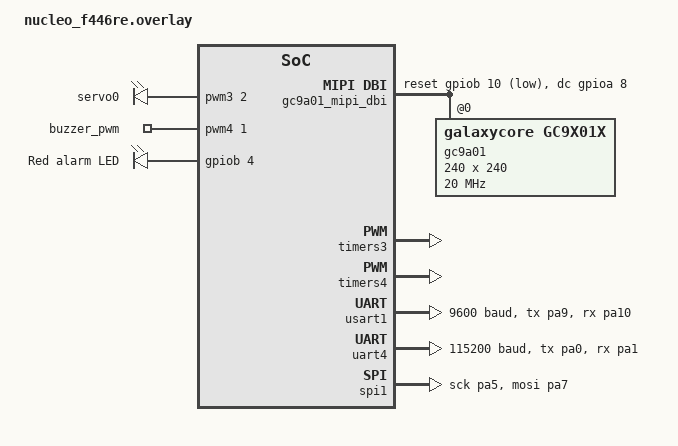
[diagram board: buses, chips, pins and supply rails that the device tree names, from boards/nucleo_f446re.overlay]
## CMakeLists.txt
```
# == DO NOT EDIT THE FOLLOWING LINES for the Raspberry Pi Pico VS Code Extension to work ==
if(WIN32)
    set(USERHOME $ENV{USERPROFILE})
else()
    set(USERHOME $ENV{HOME})
endif()
set(sdkVersion 2.3.1)
set(toolchainVersion 15_2_Rel1)
set(picotoolVersion 2.3.1)
set(picoVscode ${USERHOME}/.pico-sdk/cmake/pico-vscode.cmake)
if (EXISTS ${picoVscode})
    include(${picoVscode})
endif()
# ====================================================================================
cmake_minimum_required(VERSION 3.13)

# Must be set before the SDK is imported
set(PICO_BOARD pico2_w CACHE STRING "Board type")

# Copy this file from $PICO_SDK_PATH/external/pico_sdk_import.cmake
include(pico_sdk_import.cmake)

project(radar_ble_bridge C CXX ASM)

set(CMAKE_C_STANDARD 11)
set(CMAKE_CXX_STANDARD 20)
set(CMAKE_CXX_STANDARD_REQUIRED ON)

pico_sdk_init()

add_executable(radar_ble_bridge
    src/main.cpp
    src/radar_protocol.cpp
    src/radar_service.cpp
    src/uart_link.cpp
)

# btstack_config.h and the generated GATT header are looked up here
target_include_directories(radar_ble_bridge PRIVATE
    ${CMAKE_CURRENT_LIST_DIR}/src
)

target_link_libraries(radar_ble_bridge PRIVATE
    pico_stdlib
    hardware_uart
    pico_btstack_ble
    pico_btstack_cyw43
    pico_cyw43_arch_none
)

# Compiles src/radar_gatt.gatt into radar_gatt.h (ATT database + handle macros)
pico_btstack_make_gatt_header(radar_ble_bridge PRIVATE
    "${CMAKE_CURRENT_LIST_DIR}/src/radar_gatt.gatt"
)

# Logs go to the USB serial port; UART1 is reserved for the radar link
pico_enable_stdio_usb(radar_ble_bridge 1)
pico_enable_stdio_uart(radar_ble_bridge 0)

# Wait up to 3 s for a terminal to open the USB serial port at boot,
# so the startup log lines (BTstack up, advertising) are not lost.
# Boot continues after the timeout even with no terminal attached.
target_compile_definitions(radar_ble_bridge PRIVATE
    PICO_STDIO_USB_CONNECT_WAIT_TIMEOUT_MS=3000
)

pico_add_extra_outputs(radar_ble_bridge)
```

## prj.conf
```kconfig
CONFIG_GPIO=y
CONFIG_PWM=y
CONFIG_SERIAL=y
# US-100 replies are received in the UART interrupt
CONFIG_UART_INTERRUPT_DRIVEN=y
CONFIG_SPI=y
CONFIG_MIPI_DBI=y
CONFIG_DISPLAY=y

CONFIG_PRINTK=y
CONFIG_CONSOLE=y
CONFIG_UART_CONSOLE=y

# cosf/sinf in the UI run on the hardware FPU
CONFIG_FPU=y

# LVGL renders from main, which needs more stack than before
CONFIG_MAIN_STACK_SIZE=6144
# Lower priority than the radar thread (5), so rendering never holds up the servo
CONFIG_MAIN_THREAD_PRIORITY=7

# LVGL: partial draw buffer of 10% of the screen (~11.5 KB),
# small object pool because the radar is drawn by one callback
CONFIG_LVGL=y
CONFIG_LV_Z_MEM_POOL_SIZE=32768
CONFIG_LV_Z_VDB_SIZE=10
CONFIG_LV_Z_BITS_PER_PIXEL=16
CONFIG_LV_COLOR_DEPTH_16=y
CONFIG_LV_USE_LABEL=y
CONFIG_LV_FONT_MONTSERRAT_14=y
CONFIG_LV_FONT_MONTSERRAT_20=y
CONFIG_LV_FONT_MONTSERRAT_32=y

# Debugging: print driver/LVGL init errors and catch failed asserts
CONFIG_LOG=y
CONFIG_ASSERT=y
```

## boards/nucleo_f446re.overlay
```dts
#include <zephyr/dt-bindings/display/panel.h>

/*
 * MG90S servo:
 *   Signal -> D9 = PC7 = TIM3_CH2, 50 Hz PWM (20 ms period)
 *   Power  -> 5 V (preferably an external supply), GND shared with the board
 *
 * US-100 (Y401) ultrasonic module in UART mode (jumper fitted on the back):
 *   Trig/TX -> D8 = PA9  (USART1 TX)
 *   Echo/RX -> D2 = PA10 (USART1 RX)
 *   VCC     -> 3.3 V, GND -> GND
 *   9600 baud, 8N1
 *
 * GC9A01 1.28" round IPS, 240x240, 8-pin SPI module:
 *   SCL -> D13 = PA5 (SPI1 SCK)  - also drives the on-board LD2 LED,
 *                                  so LD2 flickers during screen updates
 *   SDA -> D11 = PA7 (SPI1 MOSI)
 *   CS  -> D4  = PB5
 *   DC  -> D7  = PA8
 *   RES -> D6  = PB10
 *   BLK -> 3.3 V (backlight always on)
 *   VCC -> 3.3 V, GND -> GND
 *
 * Alarm outputs:
 *   Passive buzzer module I/O -> D10 = PB6 = TIM4_CH1, 3 kHz PWM
 *     (VCC -> 3.3 V, GND -> GND). D10 is the usual Arduino SPI
 *     chip-select pin, which is why the display CS is moved to D4.
 *   Red LED -> D5 = PB4, through a 220-330 ohm series resistor,
 *     cathode to GND, active-high
 *
 * PC link (CH340 USB-to-TTL adapter, set to 3.3 V logic, VCC not connected):
 *   CH340 TXD -> A1 = PA1 (UART4 RX)
 *   CH340 RXD -> A0 = PA0 (UART4 TX)
 *   CH340 GND -> GND
 *   Radar data only; printk/logs stay on the ST-LINK virtual COM port.
 *
 * NOTE: pinctrl labels follow Zephyr's usual naming pattern. If
 * `west build` reports one as undeclared, look up the exact name in
 * your workspace's STM32F4 pinctrl files and update it here.
 */
/ {
	aliases {
		servo = &servo0;
		us100-uart = &usart1;
		radar-link = &uart4;
		buzzer-pwm = &buzzer_pwm;
		led-alarm = &alarm_led;
	};

	chosen {
		zephyr,display = &gc9a01;
	};

	servos {
		/* Reusing the generic "PWM output" binding for the servo,
		 * same idea as the buzzer in the traffic light project.
		 */
		compatible = "pwm-leds";

		servo0: servo_0 {
			pwms = <&pwm3 2 PWM_MSEC(20) PWM_POLARITY_NORMAL>;
		};
	};

	pwmleds {
		/* Not an LED - generic PWM output for the passive buzzer,
		 * same node as in the traffic light project so buzzer.c
		 * can be reused unchanged.
		 */
		compatible = "pwm-leds";

		buzzer_pwm: buzzer_pwm {
			pwms = <&pwm4 1 PWM_HZ(3000) PWM_POLARITY_NORMAL>;
		};
	};

	leds {
		compatible = "gpio-leds";

		alarm_led: led_alarm {
			gpios = <&gpiob 4 GPIO_ACTIVE_HIGH>;
			label = "Red alarm LED";
		};
	};

	gc9a01_mipi_dbi {
		compatible = "zephyr,mipi-dbi-spi";
		spi-dev = <&spi1>;
		dc-gpios = <&gpioa 8 GPIO_ACTIVE_HIGH>;
		reset-gpios = <&gpiob 10 GPIO_ACTIVE_LOW>;
		write-only; /* no MISO wire on this module */
		#address-cells = <1>;
		#size-cells = <0>;

		gc9a01: gc9a01@0 {
			compatible = "galaxycore,gc9x01x";
			reg = <0>; /* first entry of spi1 cs-gpios */
			mipi-mode = "MIPI_DBI_MODE_SPI_4WIRE";
			/* Conservative for dupont wires; try raising once it works */
			mipi-max-frequency = <DT_FREQ_M(20)>;
			pixel-format = <PANEL_PIXEL_FORMAT_RGB_565>;
			width = <240>;
			height = <240>;
			/* IPS panels usually need this, otherwise colours come out inverted */
			display-inversion;
			/* Rotated in the panel controller itself, so it costs no CPU time */
			orientation = "180";
		};
	};
};

/*
 * TIM3 is a 16-bit timer. Without a prescaler, a 20 ms period at the
 * timer clock needs far more than 65535 counts, so divide the clock
 * down to roughly 1 MHz (1 count ~ 1 us).
 */
&timers3 {
	status = "okay";
	st,prescaler = <83>;

	pwm3: pwm {
		status = "okay";
		pinctrl-0 = <&tim3_ch2_pc7>;
		pinctrl-names = "default";
	};
};

/*
 * TIM4 for the buzzer. At 3 kHz the period fits in 16 bits without a
 * prescaler. Kept separate from TIM3 (servo, 50 Hz): channels on the
 * same timer share one frequency.
 */
&timers4 {
	status = "okay";
	st,prescaler = <0>;

	pwm4: pwm {
		status = "okay";
		pinctrl-0 = <&tim4_ch1_pb6>;
		pinctrl-names = "default";
	};
};

&usart1 {
	pinctrl-0 = <&usart1_tx_pa9 &usart1_rx_pa10>;
	pinctrl-names = "default";
	current-speed = <9600>;
	status = "okay";
};

&uart4 {
	pinctrl-0 = <&uart4_tx_pa0 &uart4_rx_pa1>;
	pinctrl-names = "default";
	current-speed = <115200>;
	status = "okay";
};

/* Override the board default so CS is PB5, not PB6 (D10) */
&spi1 {
	pinctrl-0 = <&spi1_sck_pa5 &spi1_mosi_pa7>;
	pinctrl-names = "default";
	cs-gpios = <&gpiob 5 GPIO_ACTIVE_LOW>;
	status = "okay";
};

/*
 * The Nucleo-F446RE board file routes PA5 (the LD2 LED) to TIM2_CH1 as
 * a PWM LED (node pwm2). PA5 is SPI1 SCK here. With CONFIG_PWM=y that
 * PWM driver would take PA5 over at boot and the display would never
 * receive a clock. Disabling only the parent timers2 is not enough -
 * the pwm2 child node must be disabled itself.
 */
&timers2 {
	status = "disabled";
};

&pwm2 {
	status = "disabled";
};
```

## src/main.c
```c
#include <zephyr/kernel.h>
#include <zephyr/sys/printk.h>

#include "servo.h"
#include "us100.h"
#include "radar.h"
#include "protocol.h"
#include "alarm.h"
#include "radar_ui.h"

static void handle_sample(const struct radar_sample *sample)
{
	protocol_send_sample(sample);
	alarm_update(sample);
	/* Only records the sample and marks the area dirty; no drawing here */
	radar_ui_update(sample, alarm_get_level());
}

static void report_drops(void)
{
	static uint32_t last_dropped;
	uint32_t dropped = radar_dropped_count();

	if (dropped != last_dropped) {
		printk("Warning: %u radar samples dropped (queue full)\n",
		       dropped - last_dropped);
		last_dropped = dropped;
	}
}

int main(void)
{
	if (radar_ui_init() != 0) {
		return 0;
	}

	if (servo_init() != 0) {
		return 0;
	}

	if (us100_init() != 0) {
		return 0;
	}

	if (alarm_init() != 0) {
		return 0;
	}

	if (protocol_init() != 0) {
		printk("Error: protocol UART not ready\n");
		return 0;
	}

	printk("Radar started\n");
	radar_start();

	/*
	 * main is the single consumer of the radar queue and also the only
	 * thread that touches LVGL.
	 *
	 * Rendering a frame can take longer than the gap between samples.
	 * So after waking up, drain every sample that is waiting (each one
	 * is cheap to handle), then render once. The screen then always
	 * shows the latest state instead of falling further and further
	 * behind the servo.
	 */
	struct radar_sample sample;
	uint32_t wait_ms = radar_ui_process();

	while (1) {
		if (radar_get_sample(&sample, K_MSEC(wait_ms)) == 0) {
			do {
				handle_sample(&sample);
			} while (radar_get_sample(&sample, K_NO_WAIT) == 0);
		}

		report_drops();
		wait_ms = radar_ui_process();
	}

	return 0;
}
```

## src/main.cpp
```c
/*
 * Radar BLE bridge - Raspberry Pi Pico 2 W (CYW43439, BTstack)
 *
 * Receives radar frames from the Nucleo over UART1, validates them and
 * forwards them to a phone through the Radar Bridge GATT service.
 *
 * Threading: pico_cyw43_arch_none runs BTstack in the background
 * (async context driven by interrupts). The GATT service, its timer and
 * the UART line handler all run in that one context, so no locking is
 * needed. The UART interrupt only fills a ring buffer and wakes the
 * BTstack context. main() initialises everything and then idles.
 */

#include <cstdio>

#include "btstack.h"
#include "pico/cyw43_arch.h"
#include "pico/stdlib.h"

#include "radar_service.h"
#include "uart_link.h"

int main()
{
    stdio_init_all();

    if (cyw43_arch_init() != 0) {
        printf("cyw43_arch_init failed\n");
        return -1;
    }

    l2cap_init();
    sm_init();

    radar_service::init();
    uart_link::init(radar_service::on_uart_line);

    hci_power_control(HCI_POWER_ON);

    while (true) {
        sleep_ms(1000);
    }
}
```

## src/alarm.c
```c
#include <zephyr/kernel.h>
#include <zephyr/device.h>
#include <zephyr/devicetree.h>
#include <zephyr/drivers/gpio.h>
#include <zephyr/sys/atomic.h>
#include <zephyr/sys/printk.h>

#include "alarm.h"
#include "buzzer.h"

#define LED_NODE DT_ALIAS(led_alarm)

#if !DT_NODE_HAS_STATUS(LED_NODE, okay)
#error "Alarm LED devicetree node not found, check that the overlay is applied"
#endif

static const struct gpio_dt_spec led = GPIO_DT_SPEC_GET(LED_NODE, gpios);

/* Distance thresholds (mm) */
#define ALARM_WARN_MM   400
#define ALARM_DANGER_MM 150

/*
 * Keep alarming this long after the last close reading. Just long
 * enough to bridge one or two samples (~80 ms each) with a missed
 * echo, so the alarm follows the beam instead of lingering after the
 * servo has moved on.
 */
#define ALARM_HOLD_MS 300

#define SELF_TEST_MS 100

struct blink_timing {
	uint16_t on_ms;
	uint16_t off_ms;
};

/* Index matches enum alarm_level; ALARM_NONE is unused */
static const struct blink_timing timings[] = {
	[ALARM_WARN]   = { .on_ms = 80, .off_ms = 400 },
	[ALARM_DANGER] = { .on_ms = 60, .off_ms = 90 },
};

/* Written by main, read by the workqueue */
static atomic_t level = ATOMIC_INIT(ALARM_NONE);

/* Only touched by alarm_update() on the main thread */
static int64_t last_warn_ms = INT64_MIN / 2;
static int64_t last_danger_ms = INT64_MIN / 2;

static struct k_work_delayable pattern_work;
static bool output_on;

static void set_outputs(bool on)
{
	output_on = on;
	gpio_pin_set_dt(&led, on ? 1 : 0);
	buzzer_set_tone(on);
}

/*
 * Drives the LED and the buzzer from the same work item, so the blink
 * and the beep always stay in step. Stops rescheduling itself once the
 * level drops back to ALARM_NONE.
 */
static void pattern_handler(struct k_work *work)
{
	ARG_UNUSED(work);

	enum alarm_level lvl = (enum alarm_level)atomic_get(&level);

	if (lvl == ALARM_NONE) {
		set_outputs(false);
		return;
	}

	set_outputs(!output_on);

	uint16_t delay = output_on ? timings[lvl].on_ms : timings[lvl].off_ms;

	k_work_reschedule(&pattern_work, K_MSEC(delay));
}

static enum alarm_level level_for(const struct radar_sample *sample)
{
	if (sample->status != RADAR_OK) {
		return ALARM_NONE;
	}

	if (sample->distance_mm <= ALARM_DANGER_MM) {
		return ALARM_DANGER;
	}

	if (sample->distance_mm <= ALARM_WARN_MM) {
		return ALARM_WARN;
	}

	return ALARM_NONE;
}

int alarm_init(void)
{
	if (!gpio_is_ready_dt(&led)) {
		printk("Error: alarm LED not ready\n");
		return -ENODEV;
	}

	int ret = gpio_pin_configure_dt(&led, GPIO_OUTPUT_INACTIVE);

	if (ret != 0) {
		printk("Error: failed to configure alarm LED (%d)\n", ret);
		return ret;
	}

	ret = buzzer_init();
	if (ret != 0) {
		return ret;
	}

	k_work_init_delayable(&pattern_work, pattern_handler);

	/* Self-test: one short beep + flash confirms both are wired */
	set_outputs(true);
	k_msleep(SELF_TEST_MS);
	set_outputs(false);

	return 0;
}

void alarm_update(const struct radar_sample *sample)
{
	int64_t now = k_uptime_get();

	switch (level_for(sample)) {
	case ALARM_DANGER:
		last_danger_ms = now;
		break;
	case ALARM_WARN:
		last_warn_ms = now;
		break;
	default:
		break;
	}

	enum alarm_level new_level = ALARM_NONE;

	if (now - last_danger_ms < ALARM_HOLD_MS) {
		new_level = ALARM_DANGER;
	} else if (now - last_warn_ms < ALARM_HOLD_MS) {
		new_level = ALARM_WARN;
	}

	enum alarm_level old_level = (enum alarm_level)atomic_set(&level, new_level);

	if (old_level == ALARM_NONE && new_level != ALARM_NONE) {
		/* Start the pattern. If it is still winding down from an
		 * earlier alarm this is a no-op, and the running pattern
		 * picks up the new level on its next tick.
		 */
		k_work_schedule(&pattern_work, K_NO_WAIT);
	} else if (old_level != ALARM_NONE && new_level == ALARM_NONE) {
		/* Run the handler now so the LED and buzzer go quiet
		 * immediately, instead of after the current on/off phase.
		 */
		k_work_reschedule(&pattern_work, K_NO_WAIT);
	}
}

enum alarm_level alarm_get_level(void)
{
	return (enum alarm_level)atomic_get(&level);
}
```

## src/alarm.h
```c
#ifndef ALARM_H_
#define ALARM_H_

#include "radar.h"

enum alarm_level {
	ALARM_NONE,
	ALARM_WARN,   /* object within ALARM_WARN_MM: slow beep + blink */
	ALARM_DANGER, /* object within ALARM_DANGER_MM: fast beep + blink */
};

/*
 * Configure the red LED and the buzzer, then give a short beep and
 * flash as a wiring self-test.
 * Returns 0 on success, negative errno on failure.
 */
int alarm_init(void);

/*
 * Feed every radar sample in. The alarm level is the highest level
 * seen within the last ALARM_HOLD_MS, so it doesn't cut out as soon
 * as the sweep moves past the object.
 * Call from a single thread (main).
 */
void alarm_update(const struct radar_sample *sample);

enum alarm_level alarm_get_level(void);

#endif /* ALARM_H_ */
```

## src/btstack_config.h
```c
#ifndef BTSTACK_CONFIG_H
#define BTSTACK_CONFIG_H

/*
 * BTstack configuration for the radar BLE bridge (BLE peripheral only).
 * Based on the pico-examples BLE configuration, trimmed to what a
 * single-connection GATT server needs.
 */

#ifndef ENABLE_BLE
#error "Link pico_btstack_ble"
#endif

/* ---- Features ---- */
#define ENABLE_LE_PERIPHERAL
#define ENABLE_LOG_INFO
#define ENABLE_LOG_ERROR
#define ENABLE_PRINTF_HEXDUMP

/*
 * LE Data Length Extension: lets one link-layer packet carry up to 251
 * bytes instead of 27, so a large notification is not split into many
 * small air packets.
 */
#define ENABLE_LE_DATA_LENGTH_EXTENSION

/* Peripheral only: no GATT client */
#define MAX_NR_GATT_CLIENTS 0

/* ---- Buffers and sizes ---- */
#define HCI_OUTGOING_PRE_BUFFER_SIZE 4
/*
 * Largest ACL payload. 251 bytes of L2CAP payload + 4 bytes of L2CAP
 * header, which caps the ATT MTU at 251 (measured with iOS: 251).
 */
#define HCI_ACL_PAYLOAD_SIZE (251 + 4)
#define HCI_ACL_CHUNK_SIZE_ALIGNMENT 4

/* One phone at a time */
#define MAX_NR_HCI_CONNECTIONS 1

#define MAX_NR_SM_LOOKUP_ENTRIES 3
#define MAX_NR_WHITELIST_ENTRIES 16
#define MAX_NR_LE_DEVICE_DB_ENTRIES 16

/* Limit controller buffers to avoid overrunning the cyw43 shared bus */
#define MAX_NR_CONTROLLER_ACL_BUFFERS 3
#define MAX_NR_CONTROLLER_SCO_PACKETS 3

/* Controller-to-host flow control, also to protect the cyw43 bus */
#define ENABLE_HCI_CONTROLLER_TO_HOST_FLOW_CONTROL
#define HCI_HOST_ACL_PACKET_LEN (251 + 4)
#define HCI_HOST_ACL_PACKET_NUM 3
#define HCI_HOST_SCO_PACKET_LEN 120
#define HCI_HOST_SCO_PACKET_NUM 3

/* Bonding keys stored in flash (used in phase 4) */
#define NVM_NUM_DEVICE_DB_ENTRIES 16
#define NVM_NUM_LINK_KEYS 16

/* No malloc for BTstack, so the ATT database has a fixed size */
#define MAX_ATT_DB_SIZE 512

/* ---- HAL ---- */
#define HAVE_EMBEDDED_TIME_MS
#define HAVE_ASSERT
#define HCI_RESET_RESEND_TIMEOUT_MS 1000
#define ENABLE_SOFTWARE_AES128
#define ENABLE_MICRO_ECC_FOR_LE_SECURE_CONNECTIONS

#endif /* BTSTACK_CONFIG_H */
```

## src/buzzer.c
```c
#include <zephyr/kernel.h>
#include <zephyr/device.h>
#include <zephyr/devicetree.h>
#include <zephyr/drivers/pwm.h>
#include <zephyr/sys/printk.h>

#include "buzzer.h"

#define BUZZER_NODE DT_ALIAS(buzzer_pwm)

#if !DT_NODE_HAS_STATUS(BUZZER_NODE, okay)
#error "Buzzer PWM devicetree node not found, check that the overlay is applied"
#endif

static const struct pwm_dt_spec buzzer = PWM_DT_SPEC_GET(BUZZER_NODE);

int buzzer_init(void)
{
	if (!pwm_is_ready_dt(&buzzer)) {
		printk("Error: buzzer PWM device not ready\n");
		return -ENODEV;
	}

	buzzer_set_tone(false);
	return 0;
}

/*
 * A passive buzzer needs a continuous square wave to make a sound -
 * a 50% duty cycle does that. 0% duty (no pulse) is silent.
 */
void buzzer_set_tone(bool on)
{
	pwm_set_pulse_dt(&buzzer, on ? buzzer.period / 2 : 0);
}
```

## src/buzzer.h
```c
#ifndef BUZZER_H_
#define BUZZER_H_

#include <stdbool.h>

/* Configure the buzzer PWM (silent). Returns 0 on success, negative errno on failure. */
int buzzer_init(void);

/* Turn the tone on or off immediately. Non-blocking. */
void buzzer_set_tone(bool on);

#endif /* BUZZER_H_ */
```

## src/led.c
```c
#include <zephyr/kernel.h>
#include <zephyr/device.h>
#include <zephyr/devicetree.h>
#include <zephyr/drivers/gpio.h>
#include <zephyr/sys/printk.h>

#include "led.h"

#define RED_NODE      DT_ALIAS(led_red)
#define YELLOW_NODE   DT_ALIAS(led_yellow)
#define GREEN_NODE    DT_ALIAS(led_green)
#define PED_RED_NODE  DT_ALIAS(led_ped_red)
#define PED_GREEN_NODE DT_ALIAS(led_ped_green)

#if !DT_NODE_HAS_STATUS(RED_NODE, okay) || !DT_NODE_HAS_STATUS(YELLOW_NODE, okay) || \
	!DT_NODE_HAS_STATUS(GREEN_NODE, okay) || !DT_NODE_HAS_STATUS(PED_RED_NODE, okay) || \
	!DT_NODE_HAS_STATUS(PED_GREEN_NODE, okay)
#error "LED devicetree nodes not found, check that the overlay is applied"
#endif

static const struct gpio_dt_spec leds[LED_COUNT] = {
	[LED_RED]        = GPIO_DT_SPEC_GET(RED_NODE, gpios),
	[LED_YELLOW]     = GPIO_DT_SPEC_GET(YELLOW_NODE, gpios),
	[LED_GREEN]      = GPIO_DT_SPEC_GET(GREEN_NODE, gpios),
	[LED_PED_RED]    = GPIO_DT_SPEC_GET(PED_RED_NODE, gpios),
	[LED_PED_GREEN]  = GPIO_DT_SPEC_GET(PED_GREEN_NODE, gpios),
};

int led_init(void)
{
	for (int i = 0; i < LED_COUNT; i++) {
		if (!gpio_is_ready_dt(&leds[i])) {
			printk("Error: LED %d device not ready\n", i);
			return -ENODEV;
		}

		int ret = gpio_pin_configure_dt(&leds[i], GPIO_OUTPUT_INACTIVE);

		if (ret != 0) {
			printk("Error: failed to configure LED %d (%d)\n", i, ret);
			return ret;
		}
	}

	return 0;
}

void led_set(enum led_color color, bool on)
{
	gpio_pin_set_dt(&leds[color], on ? 1 : 0);
}

void led_all_off(void)
{
	for (int i = 0; i < LED_COUNT; i++) {
		gpio_pin_set_dt(&leds[i], 0);
	}
}
```

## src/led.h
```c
#ifndef LED_H_
#define LED_H_

#include <stdbool.h>

enum led_color {
	LED_RED,
	LED_YELLOW,
	LED_GREEN,
	LED_PED_RED,
	LED_PED_GREEN,
	LED_COUNT,
};

/* Configure all LED GPIOs. Returns 0 on success, negative errno on failure. */
int led_init(void);

/* Turn one LED on or off. */
void led_set(enum led_color color, bool on);

/* Turn all LEDs off. */
void led_all_off(void);

#endif /* LED_H_ */
```

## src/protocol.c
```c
#include <zephyr/kernel.h>
#include <zephyr/device.h>
#include <zephyr/devicetree.h>
#include <zephyr/drivers/uart.h>
#include <zephyr/sys/printk.h>

#include "protocol.h"

/*
 * Send on the dedicated PC link (CH340 on UART4) when the overlay
 * defines it, otherwise fall back to the console UART.
 */
#if DT_NODE_HAS_STATUS(DT_ALIAS(radar_link), okay)
#define PROTOCOL_UART_NODE DT_ALIAS(radar_link)
#else
#define PROTOCOL_UART_NODE DT_CHOSEN(zephyr_console)
#endif

static const struct device *const out_uart = DEVICE_DT_GET(PROTOCOL_UART_NODE);

K_MUTEX_DEFINE(tx_lock);

static uint8_t checksum(const char *s, int len)
{
	uint8_t cs = 0;

	for (int i = 0; i < len; i++) {
		cs ^= (uint8_t)s[i];
	}

	return cs;
}

static void send_line(const char *line)
{
	k_mutex_lock(&tx_lock, K_FOREVER);

	for (const char *p = line; *p != '\0'; p++) {
		uart_poll_out(out_uart, *p);
	}

	k_mutex_unlock(&tx_lock);
}

int protocol_init(void)
{
	if (!device_is_ready(out_uart)) {
		return -ENODEV;
	}

	return 0;
}

void protocol_send_sample(const struct radar_sample *sample)
{
	char body[32];
	char line[48];

	int len = snprintk(body, sizeof(body), "R,%d,%u,%u", sample->angle_deg,
			   sample->distance_mm, sample->status);

	snprintk(line, sizeof(line), "$%s*%02X\r\n", body, checksum(body, len));
	send_line(line);
}
```

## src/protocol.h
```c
#ifndef PROTOCOL_H_
#define PROTOCOL_H_

#include "radar.h"

/*
 * Line-based text protocol, sent on the "radar-link" UART (CH340 on
 * UART4, 115200 8N1), or on the console UART if that alias is not
 * defined. One line per sample:
 *
 *   $R,<angle_deg>,<distance_mm>,<status>*<CS>\r\n
 *
 *   angle_deg    0..180
 *   distance_mm  0 unless status is 0
 *   status       0 = OK, 1 = out of range, 2 = no reply from sensor
 *   CS           XOR of every character between '$' and '*',
 *                as two uppercase hex digits (NMEA style)
 *
 * Example: $R,90,1234,0*43
 *
 * The PC side should still only accept lines that start with '$' and
 * have a valid checksum, and ignore everything else (e.g. noise when
 * the adapter is plugged in, or logs if the console fallback is used).
 */

/* Returns 0 on success, negative errno on failure. */
int protocol_init(void);

void protocol_send_sample(const struct radar_sample *sample);

#endif /* PROTOCOL_H_ */
```

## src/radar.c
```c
#include <stdlib.h>
#include <zephyr/kernel.h>
#include <zephyr/sys/atomic.h>
#include <zephyr/sys/printk.h>

#include "radar.h"
#include "servo.h"
#include "us100.h"

/* Sweep settings */
#define STEP_DEG          2
#define SETTLE_MIN_MS     20 /* minimum wait after any move */
#define SETTLE_PER_DEG_MS 2  /* MG90S: roughly 0.1 s per 60 degrees */

/*
 * Readings per angle. 1 gives the fastest sweep (~7 s for 0-180).
 * Set to 3 to take the median of three readings, which removes
 * occasional spikes at the cost of a sweep about 2-3x slower.
 */
#define SAMPLES_PER_POINT 1

/* Leave time for echoes from the previous ping to die out */
#define MIN_PING_INTERVAL_MS 50

#define RADAR_STACK_SIZE 1024
/*
 * Must be a higher priority (lower number) than main, which renders
 * LVGL. Otherwise screen updates hold up the servo and it stutters.
 * The thread sleeps most of the time, so LVGL still gets plenty of CPU.
 * See CONFIG_MAIN_THREAD_PRIORITY in prj.conf.
 */
#define RADAR_PRIORITY   5
#define QUEUE_DEPTH      32

K_MSGQ_DEFINE(radar_msgq, sizeof(struct radar_sample), QUEUE_DEPTH, 4);

static atomic_t dropped;
static atomic_t started;
static int64_t last_ping_ms;

static void radar_thread(void *p1, void *p2, void *p3);

/* Defined with an infinite start delay, so it only runs after radar_start() */
K_THREAD_DEFINE(radar_tid, RADAR_STACK_SIZE, radar_thread, NULL, NULL, NULL,
		RADAR_PRIORITY, 0, SYS_FOREVER_MS);

static uint16_t median(uint16_t *values, int count)
{
	/* Insertion sort - count is tiny */
	for (int i = 1; i < count; i++) {
		uint16_t v = values[i];
		int j = i - 1;

		while (j >= 0 && values[j] > v) {
			values[j + 1] = values[j];
			j--;
		}
		values[j + 1] = v;
	}

	return values[count / 2];
}

static void wait_for_ping_slot(void)
{
	int64_t elapsed = k_uptime_get() - last_ping_ms;

	if (elapsed < MIN_PING_INTERVAL_MS) {
		k_msleep(MIN_PING_INTERVAL_MS - elapsed);
	}
}

/*
 * Returns 0 and the (median) distance if at least one reading was in
 * range, otherwise the error from the last reading.
 */
static int measure(uint16_t *distance_mm)
{
	uint16_t readings[SAMPLES_PER_POINT];
	int valid = 0;
	int last_err = -ETIMEDOUT;

	for (int i = 0; i < SAMPLES_PER_POINT; i++) {
		uint16_t raw = 0;

		wait_for_ping_slot();
		last_ping_ms = k_uptime_get();

		int ret = us100_read_distance_mm(&raw);

		if (ret == 0) {
			readings[valid++] = raw;
		} else {
			last_err = ret;
		}
	}

	if (valid == 0) {
		return last_err;
	}

	*distance_mm = median(readings, valid);
	return 0;
}

static void sample_at(int angle, int prev_angle)
{
	struct radar_sample sample = { .angle_deg = angle };
	uint16_t mm = 0;

	servo_set_angle(angle);
	k_msleep(MAX(SETTLE_MIN_MS, abs(angle - prev_angle) * SETTLE_PER_DEG_MS));

	int ret = measure(&mm);

	if (ret == 0) {
		sample.status = RADAR_OK;
		sample.distance_mm = mm;
	} else if (ret == -ERANGE) {
		sample.status = RADAR_OUT_OF_RANGE;
	} else {
		sample.status = RADAR_NO_REPLY;
	}

	sample.timestamp_ms = k_uptime_get_32();

	/*
	 * Never block the scan on a slow consumer: if the queue is full,
	 * drop this sample and count it.
	 */
	if (k_msgq_put(&radar_msgq, &sample, K_NO_WAIT) != 0) {
		atomic_inc(&dropped);
	}
}

static void radar_thread(void *p1, void *p2, void *p3)
{
	ARG_UNUSED(p1);
	ARG_UNUSED(p2);
	ARG_UNUSED(p3);

	int angle = SERVO_ANGLE_MIN;
	int prev_angle = servo_get_angle();
	int dir = STEP_DEG;

	while (1) {
		sample_at(angle, prev_angle);
		prev_angle = angle;

		int next = angle + dir;

		/* Bounce back at either end of the sweep */
		if (next > SERVO_ANGLE_MAX || next < SERVO_ANGLE_MIN) {
			dir = -dir;
			next = angle + dir;
		}

		angle = next;
	}
}

void radar_start(void)
{
	if (atomic_cas(&started, 0, 1)) {
		k_thread_start(radar_tid);
	}
}

int radar_get_sample(struct radar_sample *sample, k_timeout_t timeout)
{
	return k_msgq_get(&radar_msgq, sample, timeout);
}

uint32_t radar_dropped_count(void)
{
	return (uint32_t)atomic_get(&dropped);
}
```

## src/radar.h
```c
#ifndef RADAR_H_
#define RADAR_H_

#include <stdint.h>
#include <zephyr/kernel.h>

enum radar_status {
	RADAR_OK = 0,           /* distance_mm is valid */
	RADAR_OUT_OF_RANGE = 1, /* no echo, or target too close/far */
	RADAR_NO_REPLY = 2,     /* US-100 did not answer */
};

struct radar_sample {
	uint32_t timestamp_ms; /* k_uptime when the sample was taken */
	int16_t angle_deg;
	uint16_t distance_mm;  /* 0 unless status is RADAR_OK */
	uint8_t status;        /* enum radar_status */
};

/*
 * Start the scan thread. servo_init() and us100_init() must have
 * succeeded first. Calling it again has no effect.
 */
void radar_start(void);

/*
 * Take the next sample from the queue, waiting up to timeout.
 * Returns 0 on success, -EAGAIN if the timeout expired.
 * The queue has a single consumer: each sample is delivered once.
 */
int radar_get_sample(struct radar_sample *sample, k_timeout_t timeout);

/* Samples dropped because the queue was full (consumer too slow). */
uint32_t radar_dropped_count(void);

#endif /* RADAR_H_ */
```
